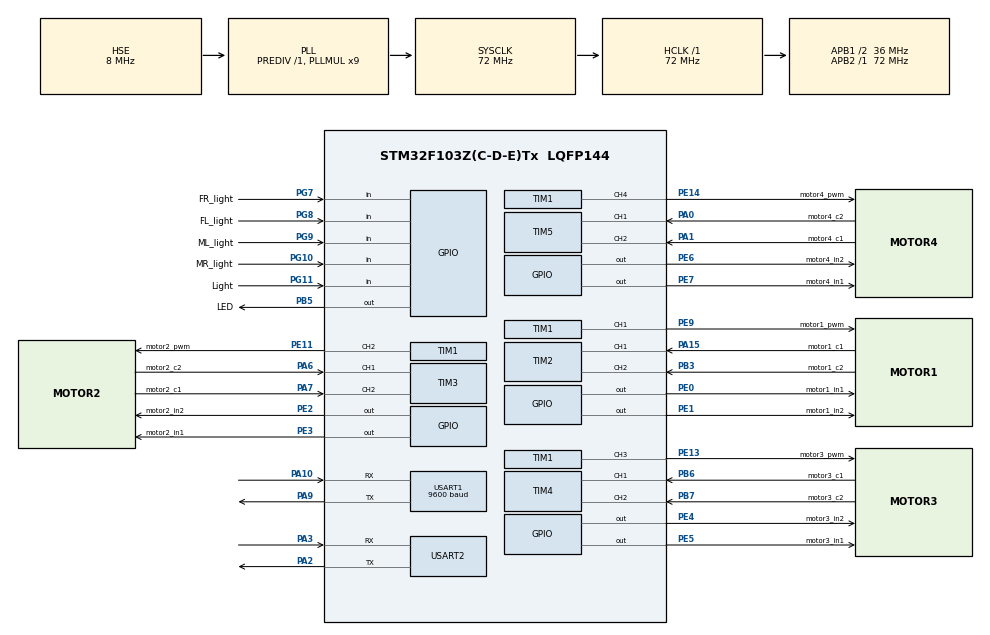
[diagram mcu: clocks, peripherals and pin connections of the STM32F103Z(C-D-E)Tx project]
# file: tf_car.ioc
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Dma.Request0=USART1_RX
Dma.USART1_RX.0.Direction=DMA_PERIPH_TO_MEMORY
Dma.USART1_RX.0.Instance=DMA1_Channel5
Dma.USART1_RX.0.MemDataAlignment=DMA_MDATAALIGN_BYTE
Dma.USART1_RX.0.MemInc=DMA_MINC_ENABLE
Dma.USART1_RX.0.Mode=DMA_CIRCULAR
Dma.USART1_RX.0.PeriphDataAlignment=DMA_PDATAALIGN_BYTE
Dma.USART1_RX.0.PeriphInc=DMA_PINC_DISABLE
Dma.USART1_RX.0.Priority=DMA_PRIORITY_LOW
Mcu.Family=STM32F1
Mcu.Name=STM32F103Z(C-D-E)Tx
Mcu.Package=LQFP144
NVIC.DMA1_Channel5_IRQn=true\:0\:0\:false\:false\:true\:false\:true\:true
NVIC.PriorityGroup=NVIC_PRIORITYGROUP_4
NVIC.TIM2_IRQn=true\:0\:0\:true\:false\:true\:true\:true\:true
NVIC.TIM3_IRQn=true\:0\:0\:true\:false\:true\:true\:true\:true
NVIC.TIM4_IRQn=true\:0\:0\:true\:false\:true\:true\:true\:true
NVIC.TIM5_IRQn=true\:0\:0\:true\:false\:true\:true\:true\:true
NVIC.TIM6_IRQn=true\:0\:0\:false\:false\:true\:true\:true\:true
NVIC.USART1_IRQn=true\:0\:0\:false\:false\:true\:true\:true\:true
NVIC.USART2_IRQn=true\:0\:0\:true\:false\:true\:true\:true\:true
OSC_IN.Mode=HSE-External-Oscillator
OSC_IN.Signal=RCC_OSC_IN
OSC_OUT.Mode=HSE-External-Oscillator
OSC_OUT.Signal=RCC_OSC_OUT
PA0-WKUP.GPIO_Label=motor4_c2
PA0-WKUP.GPIO_PuPd=GPIO_PULLUP
PA0-WKUP.Signal=S_TIM5_CH1
PA1.GPIO_Label=motor4_c1
PA1.GPIO_PuPd=GPIO_PULLUP
PA1.Signal=S_TIM5_CH2
PA10.Mode=Asynchronous
PA10.Signal=USART1_RX
PA13.Mode=Serial_Wire
PA13.Signal=SYS_JTMS-SWDIO
PA14.Mode=Serial_Wire
PA14.Signal=SYS_JTCK-SWCLK
PA15.GPIO_Label=motor1_c1
PA15.GPIO_PuPd=GPIO_PULLUP
PA15.Signal=S_TIM2_CH1_ETR
PA2.Mode=Asynchronous
PA2.Signal=USART2_TX
PA3.Mode=Asynchronous
PA3.Signal=USART2_RX
PA6.GPIO_Label=motor2_c2
PA6.GPIO_PuPd=GPIO_PULLUP
PA6.Signal=S_TIM3_CH1
PA7.GPIO_Label=motor2_c1
PA7.GPIO_PuPd=GPIO_PULLUP
PA7.Signal=S_TIM3_CH2
PA9.Mode=Asynchronous
PA9.Signal=USART1_TX
PB3.GPIO_Label=motor1_c2
PB3.GPIO_PuPd=GPIO_PULLUP
PB3.Signal=S_TIM2_CH2
PB5.GPIO_Label=LED
PB5.Signal=GPIO_Output
PB6.GPIO_Label=motor3_c1
PB6.GPIO_PuPd=GPIO_PULLUP
PB6.Signal=S_TIM4_CH1
PB7.GPIO_Label=motor3_c2
PB7.GPIO_PuPd=GPIO_PULLUP
PB7.Signal=S_TIM4_CH2
PB8.Signal=I2C1_SCL
PB9.Signal=I2C1_SDA
PE0.GPIO_Label=motor1_in1
PE0.Signal=GPIO_Output
PE1.GPIO_Label=motor1_in2
PE1.Signal=GPIO_Output
PE11.GPIO_Label=motor2_pwm
PE11.Signal=S_TIM1_CH2
PE13.GPIO_Label=motor3_pwm
PE13.Signal=S_TIM1_CH3
PE14.GPIO_Label=motor4_pwm
PE14.Signal=S_TIM1_CH4
PE2.GPIO_Label=motor2_in2
PE2.Signal=GPIO_Output
PE3.GPIO_Label=motor2_in1
PE3.Signal=GPIO_Output
PE4.GPIO_Label=motor3_in2
PE4.Signal=GPIO_Output
PE5.GPIO_Label=motor3_in1
PE5.Signal=GPIO_Output
PE6.GPIO_Label=motor4_in2
PE6.Signal=GPIO_Output
PE7.GPIO_Label=motor4_in1
PE7.Signal=GPIO_Output
PE9.GPIO_Label=motor1_pwm
PE9.Signal=S_TIM1_CH1
PG10.GPIO_Label=MR_light
PG10.Signal=GPIO_Input
PG11.GPIO_Label=Light
PG11.Signal=GPIO_Input
PG7.GPIO_Label=FR_light
PG7.Signal=GPIO_Input
PG8.GPIO_Label=FL_light
PG8.Signal=GPIO_Input
PG9.GPIO_Label=ML_light
PG9.Signal=GPIO_Input
ProjectManager.HeapSize=0x200
ProjectManager.StackSize=0x400
ProjectManager.TargetToolchain=MDK-ARM V5.32
RCC.AHBFreq_Value=72000000
RCC.APB1CLKDivider=RCC_HCLK_DIV2
RCC.APB1Freq_Value=36000000
RCC.APB1TimFreq_Value=72000000
RCC.APB2Freq_Value=72000000
RCC.APB2TimFreq_Value=72000000
RCC.HCLKFreq_Value=72000000
RCC.PLLMUL=RCC_PLL_MUL9
RCC.PLLSourceVirtual=RCC_PLLSOURCE_HSE
RCC.SYSCLKFreq_VALUE=72000000
RCC.SYSCLKSource=RCC_SYSCLKSOURCE_PLLCLK
RCC.USBFreq_Value=72000000
SH.S_TIM1_CH1.0=TIM1_CH1,PWM Generation1 CH1
SH.S_TIM1_CH2.0=TIM1_CH2,PWM Generation2 CH2
SH.S_TIM1_CH3.0=TIM1_CH3,PWM Generation3 CH3
SH.S_TIM1_CH4.0=TIM1_CH4,PWM Generation4 CH4
SH.S_TIM2_CH1_ETR.0=TIM2_CH1,Encoder_Interface
SH.S_TIM2_CH2.0=TIM2_CH2,Encoder_Interface
SH.S_TIM3_CH1.0=TIM3_CH1,Encoder_Interface
SH.S_TIM3_CH2.0=TIM3_CH2,Encoder_Interface
SH.S_TIM4_CH1.0=TIM4_CH1,Encoder_Interface
SH.S_TIM4_CH2.0=TIM4_CH2,Encoder_Interface
SH.S_TIM5_CH1.0=TIM5_CH1,Encoder_Interface
SH.S_TIM5_CH2.0=TIM5_CH2,Encoder_Interface
TIM1.AutoReloadPreload=TIM_AUTORELOAD_PRELOAD_ENABLE
TIM1.Channel-PWM\ Generation1\ CH1=TIM_CHANNEL_1
TIM1.Channel-PWM\ Generation2\ CH2=TIM_CHANNEL_2
TIM1.Channel-PWM\ Generation3\ CH3=TIM_CHANNEL_3
TIM1.Channel-PWM\ Generation4\ CH4=TIM_CHANNEL_4
TIM1.Period=100-1
TIM1.Prescaler=1440-1
TIM1.Pulse-PWM\ Generation1\ CH1=50
TIM1.Pulse-PWM\ Generation2\ CH2=50
TIM1.Pulse-PWM\ Generation3\ CH3=50
TIM1.Pulse-PWM\ Generation4\ CH4=50
TIM2.EncoderMode=TIM_ENCODERMODE_TI12
TIM2.IC1Filter=6
TIM2.IC2Filter=6
TIM3.EncoderMode=TIM_ENCODERMODE_TI12
TIM3.IC1Filter=6
TIM3.IC2Filter=6
TIM4.EncoderMode=TIM_ENCODERMODE_TI12
TIM4.IC1Filter=6
TIM4.IC2Filter=6
TIM5.EncoderMode=TIM_ENCODERMODE_TI12
TIM5.IC1Filter=6
TIM5.IC2Filter=6
TIM6.Period=100-1
TIM6.Prescaler=720-1
USART1.BaudRate=9600
USART1.VirtualMode=VM_ASYNC
USART2.VirtualMode=VM_ASYNC
VP_TIM6_VS_ClockSourceINT.Mode=Enable_Timer
board=custom

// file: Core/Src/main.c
/* USER CODE BEGIN Header */
/**
  ******************************************************************************
  * @file           : main.c
  * @brief          : Main program body
  ******************************************************************************
  * @attention
  *
  * Copyright (c) 2023 STMicroelectronics.
  * All rights reserved.
  *
  * This software is licensed under terms that can be found in the LICENSE file
  * in the root directory of this software component.
  * If no LICENSE file comes with this software, it is provided AS-IS.
  *
  ******************************************************************************
  */
/* USER CODE END Header */
#include "main.h"
#include "dma.h"
#include "tim.h"
#include "usart.h"
#include "gpio.h"

/* USER CODE BEGIN Includes */
#include "stdio.h"
#include "motor.h"
#include "encoder.h"
#include "pid.h"
#include "bsp_usart.h"
#include "bsp_tim.h"
#include "bsp_tim.h"
#include "move.h"
#include "imu.h"
#include "jy901.h"
#include "move.h"
#include "cmd.h"
/* USER CODE END Includes */

void SystemClock_Config(void);
/* USER CODE BEGIN PFP */
void HAL_TIM_PeriodElapasedCallback(TIM_HandleTypeDef *htim);
/* USER CODE END PFP */

/* USER CODE BEGIN 0 */
extern float motor1speed;
extern float motor2speed;
extern float motor3speed;
extern float motor4speed;
extern float motor1mileage;
extern float motor2mileage;
extern float motor3mileage;
extern float motor4mileage;
extern tpid pid1,pid2,pid3,pid4,pid1s;
uint16_t timercount=0;
uint16_t timercount1=0;
int position_control_flag=0;
extern short encoder1count;
extern short encoder2count;
extern short encoder3count;
extern short encoder4count;
float v1,v2,v3,v4;
extern User_USART JY901_data;
/* USER CODE END 0 */

int main(void)
{

  /* MCU Configuration--------------------------------------------------------*/

  /* Reset of all peripherals, Initializes the Flash interface and the Systick. */
  HAL_Init();

  /* Configure the system clock */
  SystemClock_Config();

  /* Initialize all configured peripherals */
  MX_GPIO_Init();
  MX_DMA_Init();
  MX_USART2_UART_Init();
  MX_TIM1_Init();
  MX_TIM2_Init();
  MX_TIM3_Init();
  MX_TIM4_Init();
  MX_TIM5_Init();
  MX_TIM6_Init();
  MX_USART1_UART_Init();
  /* USER CODE BEGIN 2 */
	HAL_TIM_Base_Start_IT(&htim6);             //����ʱ��
	motor_encoder_init();
	motor_pwm_init();
	pid_init();
	__HAL_UART_ENABLE_IT(&huart2,UART_IT_RXNE);
	v1=0;
	v2=0;
	v3=0;
	v4=0;
	User_USART_Init(&JY901_data);
  /* USER CODE END 2 */

  /* Infinite loop */
  /* USER CODE BEGIN WHILE */
  while (1)
  {
//	track();
    /* USER CODE END WHILE */

    /* USER CODE BEGIN 3 */

//		HAL_Delay(500);
//		motor_pwm_set(-40,-40,-40,-40);
//		uint8_t c_Data[]="����̫��\r\n";
//		HAL_UART_Transmit(&huart1,c_Data,sizeof(c_Data),0xffff);
//		handler_data(&pid1);
//		printf("1:%d\r\n",encoder1count);
//		printf("2:%d\r\n",encoder2count);
//		printf("3:%d\r\n",encoder3count);
//		printf("4:%d\r\n",encoder4count);
		HAL_Delay(10);
  }
  /* USER CODE END 3 */
}

void SystemClock_Config(void)
{
  RCC_OscInitTypeDef RCC_OscInitStruct = {0};
  RCC_ClkInitTypeDef RCC_ClkInitStruct = {0};

  /** Initializes the RCC Oscillators according to the specified parameters
  * in the RCC_OscInitTypeDef structure.
  */
  RCC_OscInitStruct.OscillatorType = RCC_OSCILLATORTYPE_HSE;
  RCC_OscInitStruct.HSEState = RCC_HSE_ON;
  RCC_OscInitStruct.HSEPredivValue = RCC_HSE_PREDIV_DIV1;
  RCC_OscInitStruct.HSIState = RCC_HSI_ON;
  RCC_OscInitStruct.PLL.PLLState = RCC_PLL_ON;
  RCC_OscInitStruct.PLL.PLLSource = RCC_PLLSOURCE_HSE;
  RCC_OscInitStruct.PLL.PLLMUL = RCC_PLL_MUL9;
  if (HAL_RCC_OscConfig(&RCC_OscInitStruct) != HAL_OK)
  {
    Error_Handler();
  }

  /** Initializes the CPU, AHB and APB buses clocks
  */
  RCC_ClkInitStruct.ClockType = RCC_CLOCKTYPE_HCLK|RCC_CLOCKTYPE_SYSCLK
                              |RCC_CLOCKTYPE_PCLK1|RCC_CLOCKTYPE_PCLK2;
  RCC_ClkInitStruct.SYSCLKSource = RCC_SYSCLKSOURCE_PLLCLK;
  RCC_ClkInitStruct.AHBCLKDivider = RCC_SYSCLK_DIV1;
  RCC_ClkInitStruct.APB1CLKDivider = RCC_HCLK_DIV2;
  RCC_ClkInitStruct.APB2CLKDivider = RCC_HCLK_DIV1;

  if (HAL_RCC_ClockConfig(&RCC_ClkInitStruct, FLASH_LATENCY_2) != HAL_OK)
  {
    Error_Handler();
  }
}

/* USER CODE BEGIN 4 */

void HAL_TIM_PeriodElapsedCallback(TIM_HandleTypeDef *htim)
{
   	if(htim == &htim6)//1ms 1000hz
	{
		timercount++;
		timercount1++;
//		imu_getdata();
//		if(timercount1<=5000)
//		{
//			v2=80;
//		}
//		else{
//			v2=0;
//		}
		if(timercount%10 == 0)//10ms�����ٶ�
		{
			motor_encoder_getdata();
		}
		if(timercount%20 == 0)//20ms�����ٶ�
		{

			if(position_control_flag==1)
			{
					motor_getmmileage();
					pid1s.target_val=6000;
					pid_realize_s(&pid1s,motor1mileage);
				motor_speedpid_conrol(pid1s.out,pid1s.out,pid1s.out,pid1s.out);
			}
			else
			{
				motor1mileage=0;
				motor2mileage=0;
				motor3mileage=0;
				motor4mileage=0;
				motor_speedpid_conrol(v1,v2,v3,v4);
//				motor_speedopenloop_conrol(40,40,40,40);
				float data1,data2,data3;
				data1=(float)JY901_data.angle.angle[0];
				data2=(float)JY901_data.angle.angle[1];
				data3=(float)JY901_data.angle.angle[2];
				printf("%.2f,%.2f,%.2f\n",data1,data2,data3);
			}
			timercount=0;
		}
	}
}

/* USER CODE END 4 */

void Error_Handler(void)
{
  __disable_irq();
  while (1)
  {
  }
}
